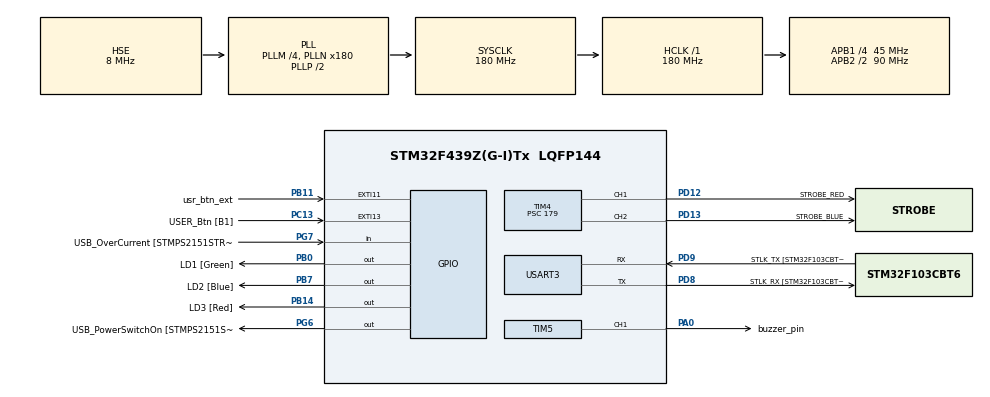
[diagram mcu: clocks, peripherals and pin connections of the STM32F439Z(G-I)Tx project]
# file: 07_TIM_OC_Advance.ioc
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Mcu.Family=STM32F4
Mcu.Name=STM32F439Z(G-I)Tx
Mcu.Package=LQFP144
NVIC.EXTI15_10_IRQn=true\:2\:0\:true\:false\:true\:true\:true\:true
NVIC.PriorityGroup=NVIC_PRIORITYGROUP_4
NVIC.TIM5_IRQn=true\:0\:0\:false\:false\:true\:true\:true\:true
PA0/WKUP.GPIO_Label=buzzer_pin
PA0/WKUP.Signal=S_TIM5_CH1
PA13.GPIO_Label=TMS
PA13.Mode=Serial_Wire
PA13.Signal=SYS_JTMS-SWDIO
PA14.GPIO_Label=TCK
PA14.Mode=Serial_Wire
PA14.Signal=SYS_JTCK-SWCLK
PB0.GPIO_Label=LD1 [Green]
PB0.Signal=GPIO_Output
PB11.GPIO_Label=usr_btn_ext
PB11.GPIO_ModeDefaultEXTI=GPIO_MODE_IT_FALLING
PB11.GPIO_PuPd=GPIO_PULLUP
PB11.Signal=GPXTI11
PB14.GPIO_Label=LD3 [Red]
PB14.Signal=GPIO_Output
PB7.GPIO_Label=LD2 [Blue]
PB7.Signal=GPIO_Output
PC13.GPIO_Label=USER_Btn [B1]
PC13.Signal=GPXTI13
PC14/OSC32_IN.Mode=LSE-External-Oscillator
PC14/OSC32_IN.Signal=RCC_OSC32_IN
PC15/OSC32_OUT.Mode=LSE-External-Oscillator
PC15/OSC32_OUT.Signal=RCC_OSC32_OUT
PD12.GPIO_Label=STROBE_RED
PD12.Signal=S_TIM4_CH1
PD13.GPIO_Label=STROBE_BLUE
PD13.Signal=S_TIM4_CH2
PD8.GPIO_Label=STLK_RX [STM32F103CBT6_PA3]
PD8.Mode=Asynchronous
PD8.Signal=USART3_TX
PD9.GPIO_Label=STLK_TX [STM32F103CBT6_PA2]
PD9.Mode=Asynchronous
PD9.Signal=USART3_RX
PG6.GPIO_Label=USB_PowerSwitchOn [STMPS2151STR_EN]
PG6.Signal=GPIO_Output
PG7.GPIO_Label=USB_OverCurrent [STMPS2151STR_FAULT]
PG7.Signal=GPIO_Input
PH0/OSC_IN.GPIO_Label=MCO [STM32F103CBT6_PA8]
PH0/OSC_IN.Mode=HSE-External-Oscillator
PH0/OSC_IN.Signal=RCC_OSC_IN
PH1/OSC_OUT.Mode=HSE-External-Oscillator
PH1/OSC_OUT.Signal=RCC_OSC_OUT
ProjectManager.HeapSize=0x200
ProjectManager.StackSize=0x400
ProjectManager.TargetToolchain=STM32CubeIDE
RCC.48MHZClocksFreq_Value=51428571.428571425
RCC.AHBFreq_Value=180000000
RCC.APB1CLKDivider=RCC_HCLK_DIV4
RCC.APB1Freq_Value=45000000
RCC.APB1TimFreq_Value=90000000
RCC.APB2CLKDivider=RCC_HCLK_DIV2
RCC.APB2Freq_Value=90000000
RCC.APB2TimFreq_Value=180000000
RCC.CortexFreq_Value=180000000
RCC.HCLKFreq_Value=180000000
RCC.HSE_VALUE=8000000
RCC.HSI_VALUE=16000000
RCC.PLLM=4
RCC.PLLMUL=RCC_PLL_MUL9
RCC.PLLN=180
RCC.PLLQ=7
RCC.PLLSourceVirtual=RCC_PLLSOURCE_HSE
RCC.PRESCALERUSB=RCC_USBCLKSOURCE_PLL_DIV1_5
RCC.SYSCLKFreq_VALUE=180000000
RCC.SYSCLKSource=RCC_SYSCLKSOURCE_PLLCLK
RCC.SYSCLKSourceVirtual=RCC_SYSCLKSOURCE_PLLCLK
RCC.USBFreq_Value=48000000
RCC.VCOOutputFreq_Value=360000000
SH.S_TIM4_CH1.0=TIM4_CH1,PWM Generation1 CH1
SH.S_TIM4_CH2.0=TIM4_CH2,PWM Generation2 CH2
SH.S_TIM5_CH1.0=TIM5_CH1,Output Compare1 CH1
TIM4.Channel-PWM\ Generation1\ CH1=TIM_CHANNEL_1
TIM4.Channel-PWM\ Generation2\ CH2=TIM_CHANNEL_2
TIM4.Period=999
TIM4.Prescaler=179
TIM5.Channel-Output\ Compare1\ CH1=TIM_CHANNEL_1
TIM5.OCMode_1=TIM_OCMODE_TOGGLE
TIM5.Prescaler=89
USART3.VirtualMode=VM_ASYNC
VP_TIM4_VS_ClockSourceINT.Mode=Internal
VP_TIM5_VS_ClockSourceINT.Mode=Internal
board=NUCLEO-F439ZI

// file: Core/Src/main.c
/* USER CODE BEGIN Header */
/**
 ******************************************************************************
 * @file           : main.c
 * @brief          : Main program body
 ******************************************************************************
 * @attention
 *
 * Copyright (c) 2026 STMicroelectronics.
 * All rights reserved.
 *
 * This software is licensed under terms that can be found in the LICENSE file
 * in the root directory of this software component.
 * If no LICENSE file comes with this software, it is provided AS-IS.
 *
 ******************************************************************************
 */
/* USER CODE END Header */
#include "main.h"

/* USER CODE BEGIN Includes */
#include "tone_generator.h"
#include "siren_service.h"

/* USER CODE END Includes */

TIM_HandleTypeDef htim4;
TIM_HandleTypeDef htim5;

UART_HandleTypeDef huart3;

/* USER CODE BEGIN PV */

tone_gen_t      my_buzzer;
siren_service_t vehicular_siren;

SirenMode_t actual_mode = MODE_OFF;
volatile uint8_t button_event = 0;

/* USER CODE END PV */

void SystemClock_Config(void);
static void MX_GPIO_Init(void);
static void MX_USART3_UART_Init(void);
static void MX_TIM5_Init(void);
static void MX_TIM4_Init(void);
/* USER CODE BEGIN PFP */

void     PAL_STM32_GPIO_Write(generic_gpio_t gpio, bool state);
bool     PAL_STM32_GPIO_Read(generic_gpio_t gpio);
void     PAL_STM32_PWM_Write(generic_pwm_t ch, uint16_t value);
uint32_t PAL_STM32_GetTick(void);
uint32_t PAL_STM32_OC_Read(generic_pwm_t ch);
void     PAL_STM32_OC_Write(generic_pwm_t ch, uint32_t value);
uint32_t PAL_STM32_GetTimerCnt(generic_pwm_t ch);

/* USER CODE END PFP */

/* USER CODE BEGIN 0 */

void PAL_STM32_GPIO_Write(generic_gpio_t gpio, bool state) {
	HAL_GPIO_WritePin((GPIO_TypeDef*)gpio.port, gpio.pin, state ? GPIO_PIN_SET : GPIO_PIN_RESET);
}

bool PAL_STM32_GPIO_Read(generic_gpio_t gpio) {
	return (HAL_GPIO_ReadPin((GPIO_TypeDef*)gpio.port, gpio.pin) == GPIO_PIN_SET);
}

void PAL_STM32_PWM_Write(generic_pwm_t ch, uint16_t value) {
	__HAL_TIM_SET_COMPARE((TIM_HandleTypeDef*)ch.timer_handle, ch.channel, value);
}

uint32_t PAL_STM32_GetTick(void) {
	return HAL_GetTick();
}

uint32_t PAL_STM32_OC_Read(generic_pwm_t ch) {
	// Lectura directa y limpia del registro CCRx asignado
	return HAL_TIM_ReadCapturedValue((TIM_HandleTypeDef*)ch.timer_handle, ch.channel);
}

void PAL_STM32_OC_Write(generic_pwm_t ch, uint32_t value) {
	// __HAL_TIM_SET_COMPARE escribe el nuevo valor elástico de disparo en el CCRx
	__HAL_TIM_SET_COMPARE((TIM_HandleTypeDef*)ch.timer_handle, ch.channel, value);
}

uint32_t PAL_STM32_GetTimerCnt(generic_pwm_t ch) {
	return __HAL_TIM_GET_COUNTER((TIM_HandleTypeDef*)ch.timer_handle);
}

/* USER CODE END 0 */

int main(void)
{

  /* MCU Configuration--------------------------------------------------------*/

  /* Reset of all peripherals, Initializes the Flash interface and the Systick. */
  HAL_Init();

  /* Configure the system clock */
  SystemClock_Config();

  /* Initialize all configured peripherals */
  MX_GPIO_Init();
  MX_USART3_UART_Init();
  MX_TIM5_Init();
  MX_TIM4_Init();
  /* USER CODE BEGIN 2 */

	// 1. Habilitar Interrupciones en el NVIC (Imprescindible para el Output Compare)
	HAL_NVIC_SetPriority(TIM5_IRQn, 0, 0);
	HAL_NVIC_EnableIRQ(TIM5_IRQn);

	// 2. Configurar Tabla de Despacho PAL Universal
	hal_interface_t sys_pal = {
			.gpio_write    = PAL_STM32_GPIO_Write,
			.gpio_read     = PAL_STM32_GPIO_Read,
			.pwm_write     = PAL_STM32_PWM_Write,
			.get_tick      = PAL_STM32_GetTick,
			.oc_read       = PAL_STM32_OC_Read,
			.oc_write      = PAL_STM32_OC_Write,
			.get_timer_cnt = PAL_STM32_GetTimerCnt // <-- INYECTAMOS EL NUEVO MAPEO
	};

	// 3. Mapeo de Descriptores de Hardware Físicos
	generic_pwm_t  oc_channel = { .timer_handle = &htim5, .channel = TIM_CHANNEL_1 };
	generic_gpio_t buzzer_pin = { .port = buzzer_pin_GPIO_Port, .pin = buzzer_pin_Pin };
	generic_pwm_t  led_izq    = { .timer_handle = &htim4, .channel = TIM_CHANNEL_1 };
	generic_pwm_t  led_der    = { .timer_handle = &htim4, .channel = TIM_CHANNEL_2 };

	// 4. Inicialización en Cadena Inyectando la PAL
	TONE_GENERATOR_Init(&my_buzzer, oc_channel, buzzer_pin, sys_pal, 1000000);
	SIREN_SERVICE_Init(&vehicular_siren, &my_buzzer, led_izq, led_der, sys_pal);

	// 5. CORRECCIÓN CRÍTICA: Establecer primero el modo operativo lógicamente
	// Esto limpia los flags de estado del driver genérico antes del latido del hardware
	SIREN_SERVICE_SetMode(&vehicular_siren, actual_mode);
	__HAL_TIM_CLEAR_IT(&htim5, TIM_IT_CC1);
	// 6. Encendido físico del periférico del silicio (Siempre al final)
	HAL_TIM_OC_Start_IT(&htim5, TIM_CHANNEL_1);
	HAL_TIM_PWM_Start(&htim4, TIM_CHANNEL_1);
	HAL_TIM_PWM_Start(&htim4, TIM_CHANNEL_2);

  /* USER CODE END 2 */

  /* Infinite loop */
	while (1)
	{

    /* USER CODE BEGIN 3 */

		static uint32_t button_press_tick = 0;
		static uint8_t button_state = 0;             // 0: Reposo, 1: Validando tiempo, 2: Ráfaga HORN activa
		static SirenMode_t modo_guardado = MODE_OFF; // Almacén dinámico para el retorno atómico

		// 1. Captura instantánea de la Capa 1 (Lectura directa del pin PB11)
		uint8_t pin_ahora = HAL_GPIO_ReadPin(GPIOB, GPIO_PIN_11);

		// 2. Máquina de estados para discriminar Click de Hold (Pulsación sostenida)
		switch (button_state)
		{
		case 0: // [ESTADO: REPOSO] Esperando que la ISR avise el flanco de bajada (Falling)
			if (button_event)
			{
				button_event = 0;              // Consumimos el evento asíncrono
				button_press_tick = HAL_GetTick(); // Capturamos la estampa de tiempo inicial
				button_state = 1;              // Transicionamos a evaluar la duración del pulso
			}
			break;

		case 1: // [ESTADO: EVALUANDO DURACIÓN] El usuario tiene el dedo sobre el pulsador
			if (pin_ahora == GPIO_PIN_RESET)
			{
				// CONDICIÓN HOLD: Si pasa más de 400ms retenido, se dispara la bocina de aire manual
				if (HAL_GetTick() - button_press_tick > 400)
				{
					modo_guardado = actual_mode; // Guardamos el modo actual (ej: MODE_YELP) para no perder el contexto
					actual_mode = MODE_HORN;
					SIREN_SERVICE_SetMode(&vehicular_siren, actual_mode); // Clava los 420 Hz físicos
					button_state = 2; // Bloqueamos la máquina en estado de retención
				}
			}
			else // El usuario soltó el botón ANTES de llegar a los 400ms -> Es un click corto
			{
				// Antirebote mínimo de seguridad: Confirmamos si el click duró al menos 50ms
				if (HAL_GetTick() - button_press_tick > 50)
				{
					actual_mode++;
					// Excluimos el MODE_HORN del ciclo secuencial automático
					if (actual_mode >= MODE_HORN) {
						actual_mode = MODE_OFF;
					}
					SIREN_SERVICE_SetMode(&vehicular_siren, actual_mode);
				}
				button_state = 0; // Reseteamos la máquina al reposo
			}
			break;

		case 2: // [ESTADO: RETENCIÓN HORN] La bocina ruge en background mientras el pin siga en LOW
			if (pin_ahora == GPIO_PIN_SET) // El usuario quitó el dedo del pulsador (Flanco de subida)
			{
				// RESTAURACIÓN ATÓMICA: Volvemos de inmediato a la sirena que estaba corriendo antes
				actual_mode = modo_guardado;
				SIREN_SERVICE_SetMode(&vehicular_siren, actual_mode);

				// Limpieza preventiva de flags por ruidos mecánicos al soltar el resorte del botón
				button_event = 0;
				button_state = 0;
			}
			break;

		default:
			button_state = 0;
			break;
		}

		// 3. Despacho asíncrono cooperativo: ejecuta las rampas de audio y multiplexado de balizas
		SIREN_SERVICE_Update(&vehicular_siren);

	}
  /* USER CODE END 3 */
}

void SystemClock_Config(void)
{
  RCC_OscInitTypeDef RCC_OscInitStruct = {0};
  RCC_ClkInitTypeDef RCC_ClkInitStruct = {0};

  /** Configure the main internal regulator output voltage
  */
  __HAL_RCC_PWR_CLK_ENABLE();
  __HAL_PWR_VOLTAGESCALING_CONFIG(PWR_REGULATOR_VOLTAGE_SCALE1);

  /** Initializes the RCC Oscillators according to the specified parameters
  * in the RCC_OscInitTypeDef structure.
  */
  RCC_OscInitStruct.OscillatorType = RCC_OSCILLATORTYPE_HSE;
  RCC_OscInitStruct.HSEState = RCC_HSE_ON;
  RCC_OscInitStruct.PLL.PLLState = RCC_PLL_ON;
  RCC_OscInitStruct.PLL.PLLSource = RCC_PLLSOURCE_HSE;
  RCC_OscInitStruct.PLL.PLLM = 4;
  RCC_OscInitStruct.PLL.PLLN = 180;
  RCC_OscInitStruct.PLL.PLLP = RCC_PLLP_DIV2;
  RCC_OscInitStruct.PLL.PLLQ = 7;
  if (HAL_RCC_OscConfig(&RCC_OscInitStruct) != HAL_OK)
  {
    Error_Handler();
  }

  /** Activate the Over-Drive mode
  */
  if (HAL_PWREx_EnableOverDrive() != HAL_OK)
  {
    Error_Handler();
  }

  /** Initializes the CPU, AHB and APB buses clocks
  */
  RCC_ClkInitStruct.ClockType = RCC_CLOCKTYPE_HCLK|RCC_CLOCKTYPE_SYSCLK
                              |RCC_CLOCKTYPE_PCLK1|RCC_CLOCKTYPE_PCLK2;
  RCC_ClkInitStruct.SYSCLKSource = RCC_SYSCLKSOURCE_PLLCLK;
  RCC_ClkInitStruct.AHBCLKDivider = RCC_SYSCLK_DIV1;
  RCC_ClkInitStruct.APB1CLKDivider = RCC_HCLK_DIV4;
  RCC_ClkInitStruct.APB2CLKDivider = RCC_HCLK_DIV2;

  if (HAL_RCC_ClockConfig(&RCC_ClkInitStruct, FLASH_LATENCY_5) != HAL_OK)
  {
    Error_Handler();
  }
}

static void MX_TIM4_Init(void)
{

  TIM_ClockConfigTypeDef sClockSourceConfig = {0};
  TIM_MasterConfigTypeDef sMasterConfig = {0};
  TIM_OC_InitTypeDef sConfigOC = {0};

  htim4.Instance = TIM4;
  htim4.Init.Prescaler = 179;
  htim4.Init.CounterMode = TIM_COUNTERMODE_UP;
  htim4.Init.Period = 999;
  htim4.Init.ClockDivision = TIM_CLOCKDIVISION_DIV1;
  htim4.Init.AutoReloadPreload = TIM_AUTORELOAD_PRELOAD_DISABLE;
  if (HAL_TIM_Base_Init(&htim4) != HAL_OK)
  {
    Error_Handler();
  }
  sClockSourceConfig.ClockSource = TIM_CLOCKSOURCE_INTERNAL;
  if (HAL_TIM_ConfigClockSource(&htim4, &sClockSourceConfig) != HAL_OK)
  {
    Error_Handler();
  }
  if (HAL_TIM_PWM_Init(&htim4) != HAL_OK)
  {
    Error_Handler();
  }
  sMasterConfig.MasterOutputTrigger = TIM_TRGO_RESET;
  sMasterConfig.MasterSlaveMode = TIM_MASTERSLAVEMODE_DISABLE;
  if (HAL_TIMEx_MasterConfigSynchronization(&htim4, &sMasterConfig) != HAL_OK)
  {
    Error_Handler();
  }
  sConfigOC.OCMode = TIM_OCMODE_PWM1;
  sConfigOC.Pulse = 0;
  sConfigOC.OCPolarity = TIM_OCPOLARITY_HIGH;
  sConfigOC.OCFastMode = TIM_OCFAST_DISABLE;
  if (HAL_TIM_PWM_ConfigChannel(&htim4, &sConfigOC, TIM_CHANNEL_1) != HAL_OK)
  {
    Error_Handler();
  }
  if (HAL_TIM_PWM_ConfigChannel(&htim4, &sConfigOC, TIM_CHANNEL_2) != HAL_OK)
  {
    Error_Handler();
  }
  HAL_TIM_MspPostInit(&htim4);

}

static void MX_TIM5_Init(void)
{

  TIM_ClockConfigTypeDef sClockSourceConfig = {0};
  TIM_MasterConfigTypeDef sMasterConfig = {0};
  TIM_OC_InitTypeDef sConfigOC = {0};

  htim5.Instance = TIM5;
  htim5.Init.Prescaler = 89;
  htim5.Init.CounterMode = TIM_COUNTERMODE_UP;
  htim5.Init.Period = 4294967295;
  htim5.Init.ClockDivision = TIM_CLOCKDIVISION_DIV1;
  htim5.Init.AutoReloadPreload = TIM_AUTORELOAD_PRELOAD_DISABLE;
  if (HAL_TIM_Base_Init(&htim5) != HAL_OK)
  {
    Error_Handler();
  }
  sClockSourceConfig.ClockSource = TIM_CLOCKSOURCE_INTERNAL;
  if (HAL_TIM_ConfigClockSource(&htim5, &sClockSourceConfig) != HAL_OK)
  {
    Error_Handler();
  }
  if (HAL_TIM_OC_Init(&htim5) != HAL_OK)
  {
    Error_Handler();
  }
  sMasterConfig.MasterOutputTrigger = TIM_TRGO_RESET;
  sMasterConfig.MasterSlaveMode = TIM_MASTERSLAVEMODE_DISABLE;
  if (HAL_TIMEx_MasterConfigSynchronization(&htim5, &sMasterConfig) != HAL_OK)
  {
    Error_Handler();
  }
  sConfigOC.OCMode = TIM_OCMODE_TOGGLE;
  sConfigOC.Pulse = 0;
  sConfigOC.OCPolarity = TIM_OCPOLARITY_HIGH;
  sConfigOC.OCFastMode = TIM_OCFAST_DISABLE;
  if (HAL_TIM_OC_ConfigChannel(&htim5, &sConfigOC, TIM_CHANNEL_1) != HAL_OK)
  {
    Error_Handler();
  }
  HAL_TIM_MspPostInit(&htim5);

}

static void MX_USART3_UART_Init(void)
{

  huart3.Instance = USART3;
  huart3.Init.BaudRate = 115200;
  huart3.Init.WordLength = UART_WORDLENGTH_8B;
  huart3.Init.StopBits = UART_STOPBITS_1;
  huart3.Init.Parity = UART_PARITY_NONE;
  huart3.Init.Mode = UART_MODE_TX_RX;
  huart3.Init.HwFlowCtl = UART_HWCONTROL_NONE;
  huart3.Init.OverSampling = UART_OVERSAMPLING_16;
  if (HAL_UART_Init(&huart3) != HAL_OK)
  {
    Error_Handler();
  }

}

static void MX_GPIO_Init(void)
{
  GPIO_InitTypeDef GPIO_InitStruct = {0};

  /* GPIO Ports Clock Enable */
  __HAL_RCC_GPIOC_CLK_ENABLE();
  __HAL_RCC_GPIOH_CLK_ENABLE();
  __HAL_RCC_GPIOA_CLK_ENABLE();
  __HAL_RCC_GPIOB_CLK_ENABLE();
  __HAL_RCC_GPIOD_CLK_ENABLE();
  __HAL_RCC_GPIOG_CLK_ENABLE();

  /*Configure GPIO pin Output Level */
  HAL_GPIO_WritePin(GPIOB, LD1_Pin|LD3_Pin|LD2_Pin, GPIO_PIN_RESET);

  /*Configure GPIO pin Output Level */
  HAL_GPIO_WritePin(USB_PowerSwitchOn_GPIO_Port, USB_PowerSwitchOn_Pin, GPIO_PIN_RESET);

  /*Configure GPIO pin : USER_Btn_Pin */
  GPIO_InitStruct.Pin = USER_Btn_Pin;
  GPIO_InitStruct.Mode = GPIO_MODE_IT_RISING;
  GPIO_InitStruct.Pull = GPIO_NOPULL;
  HAL_GPIO_Init(USER_Btn_GPIO_Port, &GPIO_InitStruct);

  /*Configure GPIO pins : LD1_Pin LD3_Pin LD2_Pin */
  GPIO_InitStruct.Pin = LD1_Pin|LD3_Pin|LD2_Pin;
  GPIO_InitStruct.Mode = GPIO_MODE_OUTPUT_PP;
  GPIO_InitStruct.Pull = GPIO_NOPULL;
  GPIO_InitStruct.Speed = GPIO_SPEED_FREQ_LOW;
  HAL_GPIO_Init(GPIOB, &GPIO_InitStruct);

  /*Configure GPIO pin : usr_btn_ext_Pin */
  GPIO_InitStruct.Pin = usr_btn_ext_Pin;
  GPIO_InitStruct.Mode = GPIO_MODE_IT_FALLING;
  GPIO_InitStruct.Pull = GPIO_PULLUP;
  HAL_GPIO_Init(usr_btn_ext_GPIO_Port, &GPIO_InitStruct);

  /*Configure GPIO pin : USB_PowerSwitchOn_Pin */
  GPIO_InitStruct.Pin = USB_PowerSwitchOn_Pin;
  GPIO_InitStruct.Mode = GPIO_MODE_OUTPUT_PP;
  GPIO_InitStruct.Pull = GPIO_NOPULL;
  GPIO_InitStruct.Speed = GPIO_SPEED_FREQ_LOW;
  HAL_GPIO_Init(USB_PowerSwitchOn_GPIO_Port, &GPIO_InitStruct);

  /*Configure GPIO pin : USB_OverCurrent_Pin */
  GPIO_InitStruct.Pin = USB_OverCurrent_Pin;
  GPIO_InitStruct.Mode = GPIO_MODE_INPUT;
  GPIO_InitStruct.Pull = GPIO_NOPULL;
  HAL_GPIO_Init(USB_OverCurrent_GPIO_Port, &GPIO_InitStruct);

  /* EXTI interrupt init*/
  HAL_NVIC_SetPriority(EXTI15_10_IRQn, 2, 0);
  HAL_NVIC_EnableIRQ(EXTI15_10_IRQn);

}

/* USER CODE BEGIN 4 */

void HAL_GPIO_EXTI_Callback(uint16_t GPIO_Pin)
{
	if (GPIO_Pin == GPIO_PIN_11)
	{
		button_event = 1;
	}
}

/**
 * @brief Callback universal de comparación de canales de la HAL de ST.
 * @details Se ejecuta de manera directa al levantar el flag CC1, saltándose
 * cualquier filtro intermedio de la capa Base u OC.
 */
void HAL_TIM_OC_DelayElapsedCallback(TIM_HandleTypeDef *htim)
{
	if (htim->Instance == TIM5)
	{
		HAL_GPIO_TogglePin(GPIOB, LD1_Pin); // Testigo visual
		TONE_GENERATOR_IRQ_Handler(&my_buzzer);
	}
}

/* USER CODE END 4 */

void Error_Handler(void)
{
	__disable_irq();
	while (1)
	{
	}
}
